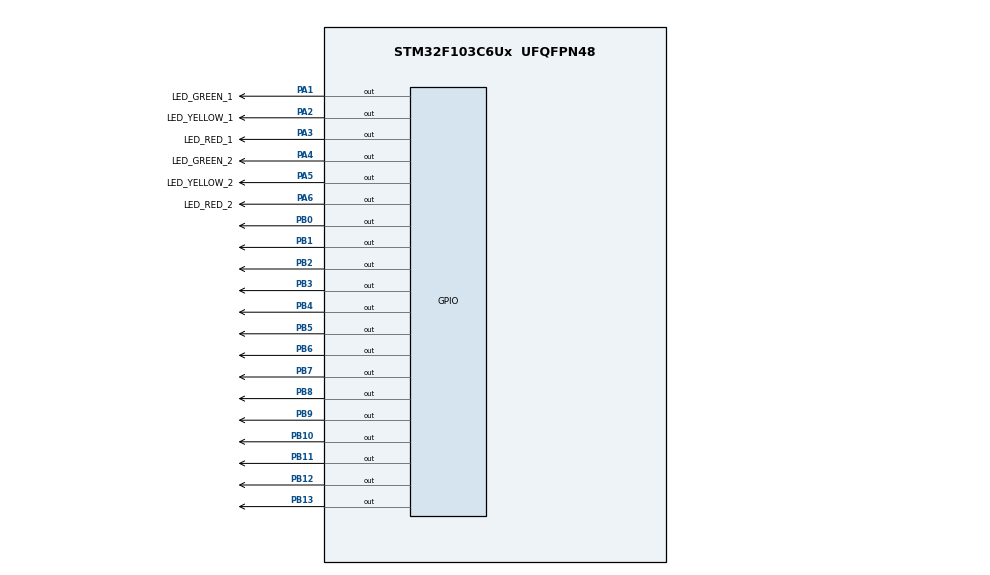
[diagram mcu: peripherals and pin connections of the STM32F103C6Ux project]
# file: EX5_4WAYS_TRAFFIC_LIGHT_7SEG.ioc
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Mcu.Family=STM32F1
Mcu.Name=STM32F103C6Ux
Mcu.Package=UFQFPN48
NVIC.PriorityGroup=NVIC_PRIORITYGROUP_4
PA1.GPIO_Label=LED_GREEN_1
PA1.Signal=GPIO_Output
PA2.GPIO_Label=LED_YELLOW_1
PA2.Signal=GPIO_Output
PA3.GPIO_Label=LED_RED_1
PA3.Signal=GPIO_Output
PA4.GPIO_Label=LED_GREEN_2
PA4.Signal=GPIO_Output
PA5.GPIO_Label=LED_YELLOW_2
PA5.Signal=GPIO_Output
PA6.GPIO_Label=LED_RED_2
PA6.Signal=GPIO_Output
PB0.Signal=GPIO_Output
PB1.Signal=GPIO_Output
PB10.Signal=GPIO_Output
PB11.Signal=GPIO_Output
PB12.Signal=GPIO_Output
PB13.Signal=GPIO_Output
PB2.Signal=GPIO_Output
PB3.Signal=GPIO_Output
PB4.Signal=GPIO_Output
PB5.Signal=GPIO_Output
PB6.Signal=GPIO_Output
PB7.Signal=GPIO_Output
PB8.Signal=GPIO_Output
PB9.Signal=GPIO_Output
ProjectManager.HeapSize=0x200
ProjectManager.StackSize=0x400
ProjectManager.TargetToolchain=STM32CubeIDE
RCC.APB1Freq_Value=8000000
RCC.APB2Freq_Value=8000000
VP_SYS_VS_ND.Mode=No_Debug
board=custom

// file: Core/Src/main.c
/* USER CODE BEGIN Header */
/**
  ******************************************************************************
  * @file           : main.c
  * @brief          : Main program body
  ******************************************************************************
  * @attention
  *
  * <h2><center>&copy; Copyright (c) 2022 STMicroelectronics.
  * All rights reserved.</center></h2>
  *
  * This software component is licensed by ST under BSD 3-Clause license,
  * the "License"; You may not use this file except in compliance with the
  * License. You may obtain a copy of the License at:
  *                        opensource.org/licenses/BSD-3-Clause
  *
  ******************************************************************************
  */
/* USER CODE END Header */
#include "main.h"

void SystemClock_Config(void);
static void MX_GPIO_Init(void);

/* USER CODE BEGIN 0 */
uint8_t segmentArray[10] = {0x3f, 0x06, 0x5b, 0x4f, 0x66, 0x6d, 0x7d, 0x07, 0x7f, 0x6F}; //From 0 to 9
void display7SEG(GPIO_TypeDef *GPIOx, uint16_t GPIO_Pin, int8_t counter) {
	if (counter<0 || counter>9) return;
	for (int i=0; i<7; i++) {
		HAL_GPIO_WritePin(GPIOx, GPIO_Pin << i, !((segmentArray[counter]>>i)&0x1));
	}
}
/* USER CODE END 0 */

int main(void)
{

  /* MCU Configuration--------------------------------------------------------*/

  /* Reset of all peripherals, Initializes the Flash interface and the Systick. */
  HAL_Init();

  /* Configure the system clock */
  SystemClock_Config();

  /* Initialize all configured peripherals */
  MX_GPIO_Init();
  /* USER CODE BEGIN 2 */
  int8_t count = 0, time_A = 3, time_B = 5;
  HAL_GPIO_WritePin(GPIOA, LED_GREEN_1_Pin, 0);
  HAL_GPIO_WritePin(GPIOA, LED_YELLOW_1_Pin, 1);
  HAL_GPIO_WritePin(GPIOA, LED_RED_1_Pin, 1);

  HAL_GPIO_WritePin(GPIOA, LED_GREEN_2_Pin, 1);
  HAL_GPIO_WritePin(GPIOA, LED_YELLOW_2_Pin, 1);
  HAL_GPIO_WritePin(GPIOA, LED_RED_2_Pin, 0);

  display7SEG(GPIOB, GPIO_PIN_0, 5);
  display7SEG(GPIOB, GPIO_PIN_7, 3);
  /* USER CODE END 2 */

  /* Infinite loop */
  while (1)
  {
    /* USER CODE BEGIN 3 */
	  switch(count) {
	  case 3:
		  time_A = 2;
		  HAL_GPIO_WritePin(GPIOA, LED_GREEN_1_Pin, 1);
		  HAL_GPIO_WritePin(GPIOA, LED_YELLOW_1_Pin, 0);
		  break;
	  case 5:
		  time_A = 5;
		  time_B = 3;
		  HAL_GPIO_WritePin(GPIOA, LED_YELLOW_1_Pin, 1);
		  HAL_GPIO_WritePin(GPIOA, LED_RED_1_Pin, 0);
		  HAL_GPIO_WritePin(GPIOA, LED_RED_2_Pin, 1);
		  HAL_GPIO_WritePin(GPIOA, LED_GREEN_2_Pin, 0);
		  break;
	  case 8:
		  time_B = 2;
		  HAL_GPIO_WritePin(GPIOA, LED_GREEN_2_Pin, 1);
		  HAL_GPIO_WritePin(GPIOA, LED_YELLOW_2_Pin, 0);
		  break;
	  case 10:
		  time_A = 3;
		  time_B = 5;
		  HAL_GPIO_WritePin(GPIOA, LED_YELLOW_2_Pin, 1);
		  HAL_GPIO_WritePin(GPIOA, LED_RED_2_Pin, 0);
		  HAL_GPIO_WritePin(GPIOA, LED_RED_1_Pin, 1);
		  HAL_GPIO_WritePin(GPIOA, LED_GREEN_1_Pin, 0);
		  count = 0;
		  break;
	  }
	  display7SEG(GPIOB, GPIO_PIN_0, time_A);
	  display7SEG(GPIOB, GPIO_PIN_7, time_B);
	  HAL_Delay(1000);
	  time_A--;
	  time_B--;
	  count++;
  }
  /* USER CODE END 3 */
}

void SystemClock_Config(void)
{
  RCC_OscInitTypeDef RCC_OscInitStruct = {0};
  RCC_ClkInitTypeDef RCC_ClkInitStruct = {0};

  /** Initializes the RCC Oscillators according to the specified parameters
  * in the RCC_OscInitTypeDef structure.
  */
  RCC_OscInitStruct.OscillatorType = RCC_OSCILLATORTYPE_HSI;
  RCC_OscInitStruct.HSIState = RCC_HSI_ON;
  RCC_OscInitStruct.HSICalibrationValue = RCC_HSICALIBRATION_DEFAULT;
  RCC_OscInitStruct.PLL.PLLState = RCC_PLL_NONE;
  if (HAL_RCC_OscConfig(&RCC_OscInitStruct) != HAL_OK)
  {
    Error_Handler();
  }
  /** Initializes the CPU, AHB and APB buses clocks
  */
  RCC_ClkInitStruct.ClockType = RCC_CLOCKTYPE_HCLK|RCC_CLOCKTYPE_SYSCLK
                              |RCC_CLOCKTYPE_PCLK1|RCC_CLOCKTYPE_PCLK2;
  RCC_ClkInitStruct.SYSCLKSource = RCC_SYSCLKSOURCE_HSI;
  RCC_ClkInitStruct.AHBCLKDivider = RCC_SYSCLK_DIV1;
  RCC_ClkInitStruct.APB1CLKDivider = RCC_HCLK_DIV1;
  RCC_ClkInitStruct.APB2CLKDivider = RCC_HCLK_DIV1;

  if (HAL_RCC_ClockConfig(&RCC_ClkInitStruct, FLASH_LATENCY_0) != HAL_OK)
  {
    Error_Handler();
  }
}

static void MX_GPIO_Init(void)
{
  GPIO_InitTypeDef GPIO_InitStruct = {0};

  /* GPIO Ports Clock Enable */
  __HAL_RCC_GPIOA_CLK_ENABLE();
  __HAL_RCC_GPIOB_CLK_ENABLE();

  /*Configure GPIO pin Output Level */
  HAL_GPIO_WritePin(GPIOA, LED_GREEN_1_Pin|LED_YELLOW_1_Pin|LED_RED_1_Pin|LED_GREEN_2_Pin
                          |LED_YELLOW_2_Pin|LED_RED_2_Pin, GPIO_PIN_RESET);

  /*Configure GPIO pin Output Level */
  HAL_GPIO_WritePin(GPIOB, GPIO_PIN_0|GPIO_PIN_1|GPIO_PIN_2|GPIO_PIN_10
                          |GPIO_PIN_11|GPIO_PIN_12|GPIO_PIN_13|GPIO_PIN_3
                          |GPIO_PIN_4|GPIO_PIN_5|GPIO_PIN_6|GPIO_PIN_7
                          |GPIO_PIN_8|GPIO_PIN_9, GPIO_PIN_RESET);

  /*Configure GPIO pins : LED_GREEN_1_Pin LED_YELLOW_1_Pin LED_RED_1_Pin LED_GREEN_2_Pin
                           LED_YELLOW_2_Pin LED_RED_2_Pin */
  GPIO_InitStruct.Pin = LED_GREEN_1_Pin|LED_YELLOW_1_Pin|LED_RED_1_Pin|LED_GREEN_2_Pin
                          |LED_YELLOW_2_Pin|LED_RED_2_Pin;
  GPIO_InitStruct.Mode = GPIO_MODE_OUTPUT_PP;
  GPIO_InitStruct.Pull = GPIO_NOPULL;
  GPIO_InitStruct.Speed = GPIO_SPEED_FREQ_LOW;
  HAL_GPIO_Init(GPIOA, &GPIO_InitStruct);

  /*Configure GPIO pins : PB0 PB1 PB2 PB10
                           PB11 PB12 PB13 PB3
                           PB4 PB5 PB6 PB7
                           PB8 PB9 */
  GPIO_InitStruct.Pin = GPIO_PIN_0|GPIO_PIN_1|GPIO_PIN_2|GPIO_PIN_10
                          |GPIO_PIN_11|GPIO_PIN_12|GPIO_PIN_13|GPIO_PIN_3
                          |GPIO_PIN_4|GPIO_PIN_5|GPIO_PIN_6|GPIO_PIN_7
                          |GPIO_PIN_8|GPIO_PIN_9;
  GPIO_InitStruct.Mode = GPIO_MODE_OUTPUT_PP;
  GPIO_InitStruct.Pull = GPIO_NOPULL;
  GPIO_InitStruct.Speed = GPIO_SPEED_FREQ_LOW;
  HAL_GPIO_Init(GPIOB, &GPIO_InitStruct);

}

void Error_Handler(void)
{
  __disable_irq();
  while (1)
  {
  }
}

/************************ (C) COPYRIGHT STMicroelectronics *****END OF FILE****/
